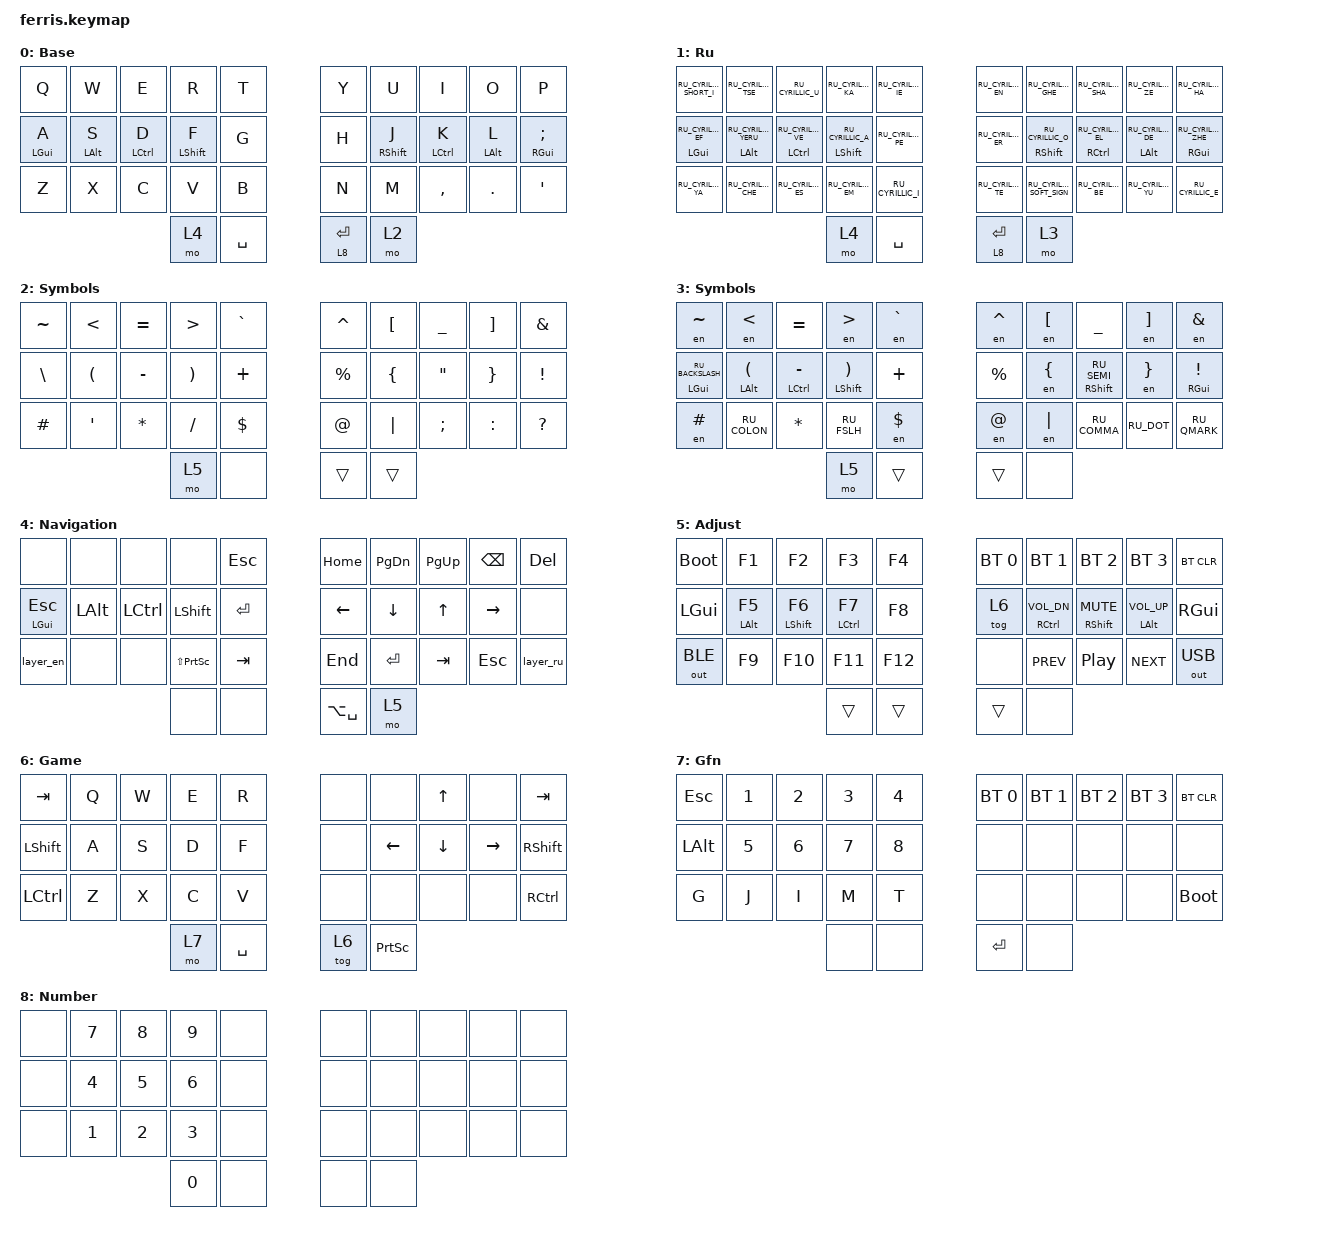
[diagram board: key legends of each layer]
#include "keys_ru.h"
#include <behaviors.dtsi>
#include <dt-bindings/zmk/bt.h>
#include <dt-bindings/zmk/keys.h>
#include <dt-bindings/zmk/outputs.h>

&mt {
    quick-tap-ms = <200>;
    flavor = "tap-preferred";
    require-prior-idle-ms = <125>;
};

/ {
    behaviors {
        hml: home_row_mod_left {
            compatible = "zmk,behavior-hold-tap";
            #binding-cells = <2>;
            flavor = "balanced";
            require-prior-idle-ms = <150>;
            tapping-term-ms = <280>;
            quick-tap-ms = <175>;
            bindings = <&kp>, <&kp>;

            hold-trigger-key-positions = <5 6 7 8 9 15 16 17 18 19 25 26 27 28 29 33 34 35>;
            hold-trigger-on-release;
        };

        hmr: home_row_mod_right {
            compatible = "zmk,behavior-hold-tap";
            #binding-cells = <2>;
            flavor = "balanced";
            require-prior-idle-ms = <150>;
            tapping-term-ms = <280>;
            quick-tap-ms = <175>;
            bindings = <&kp>, <&kp>;

            hold-trigger-key-positions = <0 1 2 3 4 10 11 12 13 14 20 21 22 23 24 30 31>;
            hold-trigger-on-release;
        };

        numl: numl {
            compatible = "zmk,behavior-hold-tap";
            label = "NUML";
            bindings = <&mo>, <&kp>;

            #binding-cells = <2>;
            tapping-term-ms = <280>;
            hold-trigger-key-positions = <32>;
            quick-tap-ms = <175>;
            require-prior-idle-ms = <150>;
            hold-trigger-on-release;
        };
    };

    combos {
        compatible = "zmk,combos";

        kha {
            bindings = <&kp RU_CYRILLIC_SHCHA>;
            key-positions = <7 8>;
            layers = <1>;
        };

        hrdsgn {
            bindings = <&kp RU_CYRILLIC_HARD_SIGN>;
            key-positions = <26 27>;
            layers = <1>;
        };

        ru-io {
            bindings = <&kp RU_CYRILLIC_IO>;
            key-positions = <3 4>;
            layers = <1>;
        };

        declar {
            bindings = <&declar>;
            key-positions = <16 17>;
        };

        not_eqv {
            bindings = <&not_equal>;
            key-positions = <17 18>;
        };

        les_eqv {
            bindings = <&les_eql>;
            key-positions = <12 11>;
        };

        grt_eqv {
            bindings = <&grt_eql>;
            key-positions = <12 13>;
        };

        chan {
            bindings = <&chan>;
            key-positions = <27 28>;
        };

        caps {
            bindings = <&kp CAPS>;
            key-positions = <13 16>;
        };

        ru_layer {
            bindings = <&layer_ru>;
            key-positions = <2 3>;
            layers = <0>;
        };

        en_layer {
            bindings = <&layer_en>;
            key-positions = <2 3>;
            layers = <1>;
        };
    };

    macros {
        to_ru: to_ru {
            compatible = "zmk,behavior-macro";
            #binding-cells = <0>;
            bindings = <&kp LS(LC(N2))>;
            label = "TO_RU";
            wait-ms = <0>;
            tap-ms = <30>;
        };

        to_en: to_en {
            compatible = "zmk,behavior-macro";
            #binding-cells = <0>;
            bindings = <&kp LS(LC(N1))>;
            label = "TO_EN";
            wait-ms = <0>;
            tap-ms = <30>;
        };

        layer_en: layer_en {
            compatible = "zmk,behavior-macro";
            #binding-cells = <0>;
            bindings = <&to 0 &to_en>;
            label = "LAYER_EN";
            wait-ms = <0>;
            tap-ms = <30>;
        };

        layer_ru: layer_ru {
            compatible = "zmk,behavior-macro";
            #binding-cells = <0>;
            bindings = <&to 1 &to_ru>;
            label = "LAYER_RU";
            tap-ms = <30>;
            wait-ms = <0>;
        };

        en: en {
            compatible = "zmk,behavior-macro-one-param";
            #binding-cells = <1>;
            bindings =
                <&to_en>,
                <&macro_press>,
                <&macro_param_1to1 &kp MACRO_PLACEHOLDER>,
                <&macro_pause_for_release>,
                <&macro_release>,
                <&macro_param_1to1 &kp MACRO_PLACEHOLDER>,
                <&macro_tap>,
                <&to_ru>;

            label = "EN";
            wait-ms = <0>;
            tap-ms = <30>;
        };

        declar: declar {
            compatible = "zmk,behavior-macro";
            #binding-cells = <0>;
            bindings = <&kp COLON &kp EQUAL &kp SPACE>;
            label = "DECLAR";
            tap-ms = <30>;
        };

        equal: equal {
            compatible = "zmk,behavior-macro";
            #binding-cells = <0>;
            bindings = <&kp EQUAL &kp EQUAL &kp SPACE>;
            label = "EQUAL";
            tap-ms = <30>;
        };

        not_equal: not_equal {
            compatible = "zmk,behavior-macro";
            #binding-cells = <0>;
            bindings = <&kp EXCL &kp EQUAL &kp SPACE>;
            label = "NOT_EQUAL";
            tap-ms = <30>;
        };

        log_and: and {
            compatible = "zmk,behavior-macro";
            #binding-cells = <0>;
            bindings = <&kp AMPS &kp AMPS &kp SPACE>;
            label = "AND";
            tap-ms = <30>;
        };

        log_or: log_or {
            compatible = "zmk,behavior-macro";
            #binding-cells = <0>;
            bindings = <&kp PIPE &kp PIPE &kp SPACE>;
            label = "LOG_OR";
            tap-ms = <30>;
        };

        comment: coment {
            compatible = "zmk,behavior-macro";
            #binding-cells = <0>;
            bindings = <&kp SLASH &kp SLASH &kp SPACE>;
            label = "COMENT";
        };

        grt_eql: grt_eql {
            compatible = "zmk,behavior-macro";
            #binding-cells = <0>;
            bindings = <&kp GREATER_THAN &kp EQUAL &kp SPACE>;
            label = "GRT_EQL";
            tap-ms = <30>;
        };

        les_eql: les_eql {
            compatible = "zmk,behavior-macro";
            #binding-cells = <0>;
            bindings = <&kp LESS_THAN &kp EQUAL &kp SPACE>;
            label = "LES_EQL";
            tap-ms = <30>;
        };

        pls_eql: pls_eql {
            compatible = "zmk,behavior-macro";
            #binding-cells = <0>;
            bindings = <&kp PLUS &kp EQUAL &kp SPACE>;
            label = "PLS_EQL";
            tap-ms = <30>;
        };

        min_eql: min_eql {
            compatible = "zmk,behavior-macro";
            #binding-cells = <0>;
            bindings = <&kp MINUS &kp EQUAL &kp SPACE>;
            label = "MIN_EQL";
            tap-ms = <30>;
        };

        thr_dots: thr_dots {
            compatible = "zmk,behavior-macro";
            #binding-cells = <0>;
            bindings = <&kp DOT &kp DOT &kp DOT>;
            label = "THR_DOTS";
            tap-ms = <30>;
        };

        chan: chan {
            compatible = "zmk,behavior-macro";
            #binding-cells = <0>;
            bindings = <&kp LESS_THAN &kp MINUS>;
            label = "CHAN";
            tap-ms = <30>;
        };

        lpar: lpar {
            compatible = "zmk,behavior-macro";
            #binding-cells = <0>;
            bindings = <&kp LPAR &kp DQT>;
            label = "LPAR";
        };
    };

    keymap {
        compatible = "zmk,keymap";

        en {
            bindings = <
&kp Q        &kp W        &kp E         &kp R         &kp T      &kp Y          &kp U         &kp I         &kp O        &kp P
&hml LGUI A  &hml LALT S  &hml LCTRL D  &hml LSHFT F  &kp G      &kp H          &hmr RSHFT J  &hmr LCTRL K  &hmr LALT L  &hmr RGUI SEMICOLON
&kp Z        &kp X        &kp C         &kp V         &kp B      &kp N          &kp M         &kp COMMA     &kp DOT      &kp SQT
                                        &mo 4         &kp SPACE  &numl 8 ENTER  &mo 2
            >;

            display-name = "Base";
        };

        ru {
            bindings = <
&kp RU_CYRILLIC_SHORT_I   &kp RU_CYRILLIC_TSE         &kp RU_CYRILLIC_U          &kp RU_CYRILLIC_KA         &kp RU_CYRILLIC_IE  &kp RU_CYRILLIC_EN  &kp RU_CYRILLIC_GHE        &kp RU_CYRILLIC_SHA        &kp RU_CYRILLIC_ZE        &kp RU_CYRILLIC_HA
&hml LGUI RU_CYRILLIC_EF  &hml LALT RU_CYRILLIC_YERU  &hml LCTRL RU_CYRILLIC_VE  &hml LSHIFT RU_CYRILLIC_A  &kp RU_CYRILLIC_PE  &kp RU_CYRILLIC_ER  &hmr RSHFT RU_CYRILLIC_O   &hmr RCTRL RU_CYRILLIC_EL  &hmr LALT RU_CYRILLIC_DE  &hmr RGUI RU_CYRILLIC_ZHE
&kp RU_CYRILLIC_YA        &kp RU_CYRILLIC_CHE         &kp RU_CYRILLIC_ES         &kp RU_CYRILLIC_EM         &kp RU_CYRILLIC_I   &kp RU_CYRILLIC_TE  &kp RU_CYRILLIC_SOFT_SIGN  &kp RU_CYRILLIC_BE         &kp RU_CYRILLIC_YU        &kp RU_CYRILLIC_E
                                                                                 &mo 4                      &kp SPACE           &numl 8 ENTER       &mo 3
            >;

            display-name = "Ru";
        };

        sym_en {
            display-name = "Symbols";
            bindings = <
&kp TILDE  &kp LT    &kp EQUAL  &kp GT    &kp GRAVE   &kp CARET  &kp LBKT  &kp UNDER  &kp RBKT   &kp AMPS
&kp BSLH   &kp LPAR  &kp MINUS  &kp RPAR  &kp PLUS    &kp PRCNT  &kp LBRC  &kp DQT    &kp RBRC   &kp EXCL
&kp HASH   &kp APOS  &kp ASTRK  &kp FSLH  &kp DOLLAR  &kp AT     &kp PIPE  &kp SEMI   &kp COLON  &kp QMARK
                                &mo 5     &none       &trans     &trans
            >;
        };

        sym_ru {
            bindings = <
&en TILDE               &en LT          &kp EQUAL         &en GT           &en GRAVE   &en CARET  &en LBKT  &kp UNDER           &en RBKT    &en AMPS
&hml LGUI RU_BACKSLASH  &hml LALT LPAR  &hml LCTRL MINUS  &hml LSHFT RPAR  &kp PLUS    &kp PRCNT  &en LBRC  &hmr RSHFT RU_SEMI  &en RBRC    &hmr RGUI EXCL
&en HASH                &kp RU_COLON    &kp STAR          &kp RU_FSLH      &en DOLLAR  &en AT     &en PIPE  &kp RU_COMMA        &kp RU_DOT  &kp RU_QMARK
                                                          &mo 5            &trans      &trans     &none
            >;

            display-name = "Symbols";
        };

        nav {
            bindings = <
&none          &none     &none      &none                &kp ESC    &kp HOME       &kp PAGE_DOWN   &kp PAGE_UP   &kp BACKSPACE    &kp DELETE
&hml LGUI ESC  &kp LALT  &kp LCTRL  &kp LSHFT            &kp ENTER  &kp LEFT       &kp DOWN_ARROW  &kp UP_ARROW  &kp RIGHT_ARROW  &none
&layer_en      &none     &none      &kp LS(PRINTSCREEN)  &kp TAB    &kp END        &kp ENTER       &kp TAB       &kp ESC          &layer_ru
                                    &none                &none      &kp LA(SPACE)  &mo 5
            >;

            display-name = "Navigation";
        };

        adj {
            bindings = <
&bootloader   &kp F1        &kp F2         &kp F3         &kp F4   &bt BT_SEL 0  &bt BT_SEL 1         &bt BT_SEL 2       &bt BT_SEL 3        &bt BT_CLR
&kp LGUI      &hml LALT F5  &hml LSHFT F6  &hml LCTRL F7  &kp F8   &tog 6        &hmr RCTRL C_VOL_DN  &hmr RSHFT C_MUTE  &hmr LALT C_VOL_UP  &kp RGUI
&out OUT_BLE  &kp F9        &kp F10        &kp F11        &kp F12  &none         &kp C_PREV           &kp C_PP           &kp C_NEXT          &out OUT_USB
                                           &trans         &trans   &trans        &none
            >;

            display-name = "Adjust";
        };

        gam {
            display-name = "Game";
            bindings = <
&kp TAB    &kp Q  &kp W  &kp E  &kp R      &none   &none            &kp UP_ARROW    &none            &kp TAB
&kp LSHFT  &kp A  &kp S  &kp D  &kp F      &none   &kp LEFT_ARROW   &kp DOWN_ARROW  &kp RIGHT_ARROW  &kp RIGHT_SHIFT
&kp LCTRL  &kp Z  &kp X  &kp C  &kp V      &none   &none            &none           &none            &kp RCTRL
                         &mo 7  &kp SPACE  &tog 6  &kp PRINTSCREEN
            >;
        };

        gfn {
            display-name = "Gfn";
            bindings = <
&kp ESC       &kp N1  &kp N2  &kp N3  &kp N4  &bt BT_SEL 0  &bt BT_SEL 1  &bt BT_SEL 2  &bt BT_SEL 3  &bt BT_CLR
&kp LEFT_ALT  &kp N5  &kp N6  &kp N7  &kp N8  &none         &none         &none         &none         &none
&kp G         &kp J   &kp I   &kp M   &kp T   &none         &none         &none         &none         &bootloader
                              &none   &none   &kp ENTER     &none
            >;
        };

        numb {
            display-name = "Number";
            bindings = <
&none  &kp N7  &kp N8  &kp N9  &none  &none  &none  &none  &none  &none
&none  &kp N4  &kp N5  &kp N6  &none  &none  &none  &none  &none  &none
&none  &kp N1  &kp N2  &kp N3  &none  &none  &none  &none  &none  &none
                       &kp N0  &none  &none  &none
            >;
        };
    };
};
